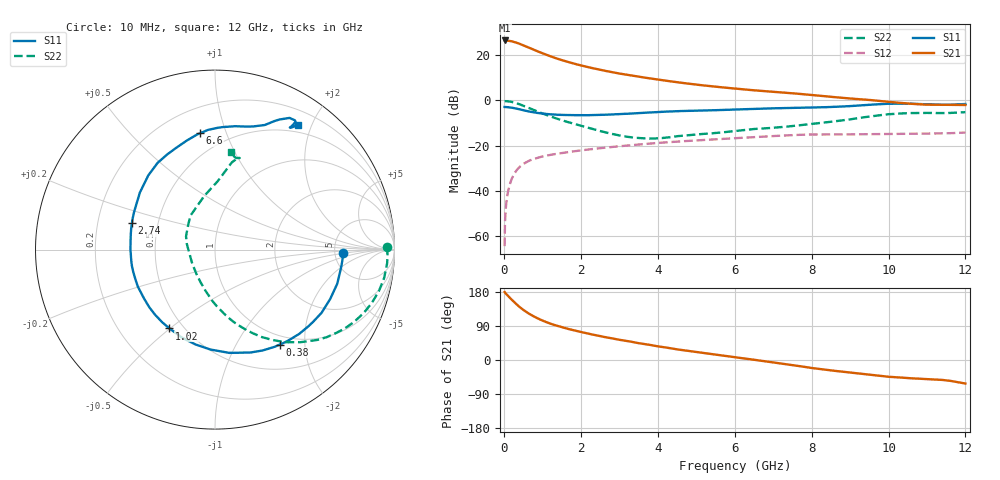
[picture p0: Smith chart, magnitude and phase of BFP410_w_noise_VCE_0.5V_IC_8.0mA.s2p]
! Infineon Technologies  Discrete & RF Semiconductors
! BFP410
! VCE =  0.5 V,  IC =  8.0 mA
! Common Emitter S-Parameters:  Nov 2015
# GHz  S  MA  R  50
!  f  S11  S21  S12  S22
! GHz  MAG  ANG  MAG  ANG  MAG  ANG  MAG  ANG
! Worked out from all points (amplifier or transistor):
!   243 points, 10 MHz to 12 GHz, reference 50 ohm
!   highest |S21| = 26.5 dB at 20 MHz (marker M1)
!   |S21| within 3 dB of that: start of sweep to 616.1 MHz
!   unconditionally stable (mu >= 1): start of sweep to 12.56 MHz; 2.442 GHz to end of sweep
!   at 240 MHz: K = 0.16, MSG = 29.5 dB, |S12| = -33.1 dB
!   at 1.84 GHz: K = 0.83, MSG = 19.3 dB, |S12| = -22.5 dB
!   at 12 GHz: K = 1.01, MAG = 5.5 dB, |S12| = -14.2 dB
!   lowest NFmin = 1.18 dB at 900 MHz
!   S11 on the Smith chart (normalised r, x): 10 MHz: 6.00, -0.40; 380 MHz: 0.85, -1.53; 1.02 GHz: 0.42, -0.50; 2.74 GHz: 0.35, +0.14; 6.6 GHz: 0.36, +0.81; 12 GHz: 0.40, +1.80
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0.01  0.7155 -1.3  20.75 179.4  0.0006 95.1  0.9569 1.0
0.02  0.714 -3.1  21.11 177.7  0.002 87.8  0.9614 -1.6
0.1  0.7073 -15.6  20.89 169.2  0.0097 82.7  0.9558 -9.4
0.2  0.6902 -30.7  20.16 158.7  0.0188 75.3  0.9237 -18.6
0.3  0.6638 -45.0  19.07 148.8  0.0269 68.8  0.8757 -27.1
0.38  0.6404 -55.8  18.05 141.7  0.0325 64.3  0.8303 -33.1
0.5  0.6067 -70.9  16.46 132.0  0.0396 58.6  0.7599 -41.5
0.6  0.581 -82.1  15.15 124.8  0.0443 54.6  0.7013 -47.4
0.7  0.5574 -92.6  13.95 118.8  0.0485 51.3  0.6477 -52.8
0.9  0.5238 -110.7  11.85 108.3  0.055 46.3  0.5531 -61.8
1.02  0.5071 -120.0  10.77 103.0  0.0582 44.2  0.5038 -66.4
1.2  0.4932 -132.6  9.447 96.0  0.0625 41.6  0.4427 -72.7
1.42  0.4802 -145.4  8.141 88.9  0.067 39.3  0.3823 -79.3
1.7  0.4734 -159.3  6.914 81.0  0.0727 37.1  0.3237 -87.0
2.02  0.4706 -172.6  5.858 73.4  0.079 35.1  0.2723 -95.1
2.74  0.4859 162.3  4.308 58.3  0.0922 30.5  0.1869 -118.7
4.1  0.5595 130.2  2.804 34.6  0.1165 21.5  0.147 -177.8
6.1  0.6318 103.2  1.792 6.0  0.1474 7.3  0.2143 132.3
6.6  0.6531 97.5  1.645 -0.8  0.1556 3.3  0.2357 124.3
8.2  0.7021 77.8  1.27 -23.6  0.1765 -12.8  0.3154 98.8
10.2  0.8448 59.4  0.896 -45.6  0.1811 -27.2  0.506 77.9
12  0.8319 56.3  0.791 -62.1  0.1944 -40.4  0.5485 80.6
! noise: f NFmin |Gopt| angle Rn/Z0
0.45  1.21  0.12  -6  0.18
0.9  1.18  0.11  12  0.17
1.8  1.32  0.04  55  0.17
2.4  1.3  0.01  -67  0.19
5.5  2.19  0.33  -117  0.24
10  3.37  0.67  -50  1.8
